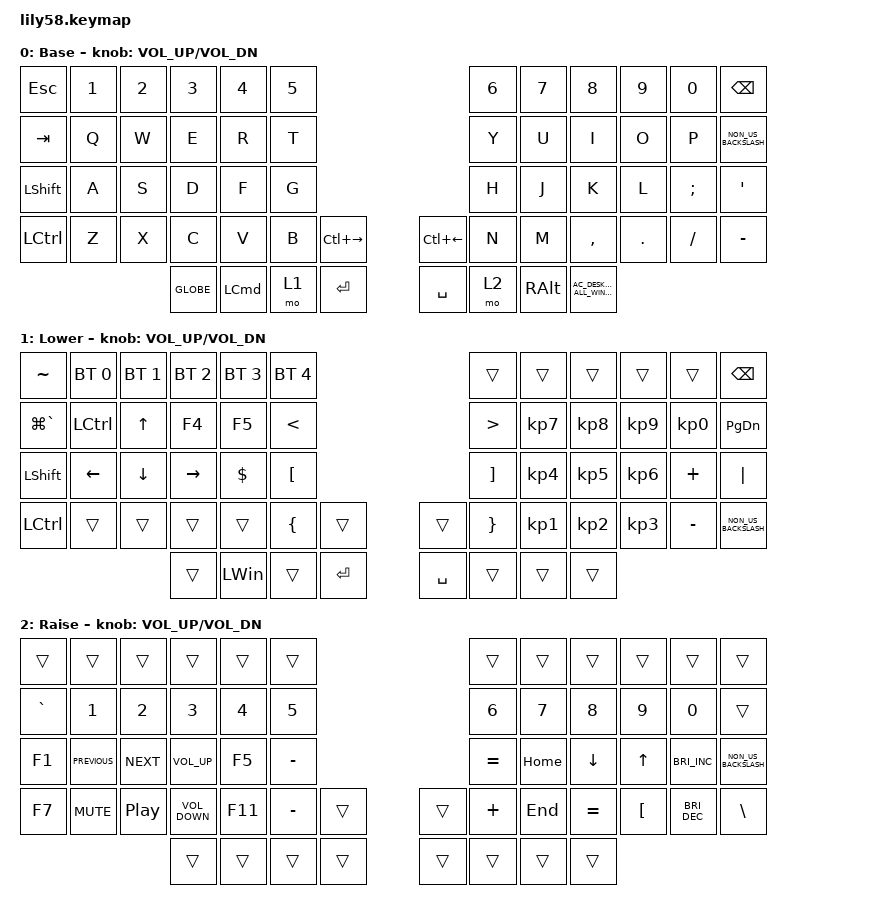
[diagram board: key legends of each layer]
/*
 * Copyright (c) 2020 The ZMK Contributors
 *
 * SPDX-License-Identifier: MIT
 */

#include <behaviors.dtsi>
#include <dt-bindings/zmk/bt.h>
#include <dt-bindings/zmk/keys.h>

/ {
    keymap {
        compatible = "zmk,keymap";

        default_layer {
            // ------------------------------------------------------------------------------------------------------------
            // |  ESC  |  1  |  2  |  3   |  4   |  5   |                   |  6   |  7    |  8    |  9   |   0   |   `   |
            // |  TAB  |  Q  |  W  |  E   |  R   |  T   |                   |  Y   |  U    |  I    |  O   |   P   |   -   |
            // |  CTRL |  A  |  S  |  D   |  F   |  G   |                   |  H   |  J    |  K    |  L   |   ;   |   '   |
            // | SHIFT |  Z  |  X  |  C   |  V   |  B   |   "["  |  |  "]"  |  N   |  M    |  ,    |  .   |   /   | SHIFT |
            //                     | ALT  | GUI  | LOWER|  SPACE |  | ENTER | RAISE| BSPC  | GUI   |

            display-name = "Base";
            bindings = <
&kp ESCAPE      &kp N1  &kp N2  &kp N3     &kp N4            &kp N5                                       &kp N6  &kp N7         &kp N8                             &kp N9   &kp N0    &kp BACKSPACE
&kp TAB         &kp Q   &kp W   &kp E      &kp R             &kp T                                        &kp Y   &kp U          &kp I                              &kp O    &kp P     &kp NON_US_BACKSLASH
&kp LEFT_SHIFT  &kp A   &kp S   &kp D      &kp F             &kp G                                        &kp H   &kp J          &kp K                              &kp L    &kp SEMI  &kp SQT
&kp LCTRL       &kp Z   &kp X   &kp C      &kp V             &kp B   &kp LC(RIGHT_ARROW)    &kp LC(LEFT)  &kp N   &kp M          &kp COMMA                          &kp DOT  &kp FSLH  &kp MINUS
                                &kp GLOBE  &kp LEFT_COMMAND  &mo 1   &kp ENTER              &kp SPACE     &mo 2   &kp RIGHT_ALT  &kp C_AC_DESKTOP_SHOW_ALL_WINDOWS
            >;

            sensor-bindings = <&inc_dec_kp C_VOL_UP C_VOL_DN>;
        };

        lower_layer {
            // ------------------------------------------------------------------------------------------------------------
            // | BTCLR | BT1 | BT2 |  BT3 |  BT4 |  BT5 |                   |      |       |       |      |       |       |
            // |  F1   |  F2 |  F3 |  F4  |  F5  |  F6  |                   |  F7  |  F8   |  F9   |  F10 |  F11  |  F12  |
            // |   `   |  !  |  @  |  #   |  $   |  %   |                   |  ^   |  &    |  *    |  (   |   )   |   ~   |
            // |       |     |     |      |      |      |        |  |       |      |  _    |  +    |  {   |   }   |  "|"  |
            //                     |      |      |      |        |  |       |      |       |       |

            display-name = "Lower";
            bindings = <
&kp TILDE       &bt BT_SEL 0      &bt BT_SEL 1  &bt BT_SEL 2  &bt BT_SEL 3  &bt BT_SEL 4                              &trans             &trans           &trans           &trans           &trans           &kp BACKSPACE
&kp LG(GRAVE)   &kp LEFT_CONTROL  &kp UP        &kp F4        &kp F5        &kp LESS_THAN                             &kp GREATER_THAN   &kp KP_NUMBER_7  &kp KP_NUMBER_8  &kp KP_NUMBER_9  &kp KP_NUMBER_0  &kp PAGE_DOWN
&kp LEFT_SHIFT  &kp LEFT          &kp DOWN      &kp RIGHT     &kp DOLLAR    &kp LEFT_BRACKET                          &kp RIGHT_BRACKET  &kp KP_NUMBER_4  &kp KP_NUMBER_5  &kp KP_NUMBER_6  &kp PLUS         &kp PIPE
&kp LCTRL       &trans            &trans        &trans        &trans        &kp LEFT_BRACE    &trans       &trans     &kp RIGHT_BRACE    &kp KP_NUMBER_1  &kp KP_NUMBER_2  &kp KP_NUMBER_3  &kp MINUS        &kp NON_US_BACKSLASH
                                                &trans        &kp LEFT_WIN  &trans            &kp ENTER    &kp SPACE  &trans             &trans           &trans
            >;

            sensor-bindings = <&inc_dec_kp C_VOL_UP C_VOL_DN>;
        };

        raise_layer {
            // ------------------------------------------------------------------------------------------------------------
            // |       |     |     |      |      |      |                   |      |       |       |      |       |       |
            // |   `   |  1  |  2  |  3   |  4   |  5   |                   |  6   |   7   |   8   |  9   |   0   |       |
            // |   F1  |  F2 |  F3 |  F4  |  F5  |  F6  |                   |      |   <-  |   v   |  ^   |  ->   |       |
            // |   F7  |  F8 |  F9 |  F10 |  F11 |  F12 |        |  |       |  +   |   -   |   =   |  [   |   ]   |   \   |
            //                     |      |      |      |        |  |       |      |       |       |

            display-name = "Raise";
            bindings = <
&trans     &trans          &trans            &trans             &trans   &trans                       &trans     &trans    &trans     &trans    &trans                &trans
&kp GRAVE  &kp N1          &kp N2            &kp N3             &kp N4   &kp N5                       &kp N6     &kp N7    &kp N8     &kp N9    &kp N0                &trans
&kp F1     &kp C_PREVIOUS  &kp C_NEXT        &kp C_VOLUME_UP    &kp F5   &kp MINUS                    &kp EQUAL  &kp HOME  &kp DOWN   &kp UP    &kp C_BRIGHTNESS_INC  &kp NON_US_BACKSLASH
&kp F7     &kp C_MUTE      &kp C_PLAY_PAUSE  &kp C_VOLUME_DOWN  &kp F11  &kp MINUS  &trans    &trans  &kp PLUS   &kp END   &kp EQUAL  &kp LBKT  &kp C_BRIGHTNESS_DEC  &kp BSLH
                                             &trans             &trans   &trans     &trans    &trans  &trans     &trans    &trans
            >;

            sensor-bindings = <&inc_dec_kp C_VOL_UP C_VOL_DN>;
        };

        extra_1 { status = "reserved"; };

        extra_2 { status = "reserved"; };

        extra_3 { status = "reserved"; };
    };
};
